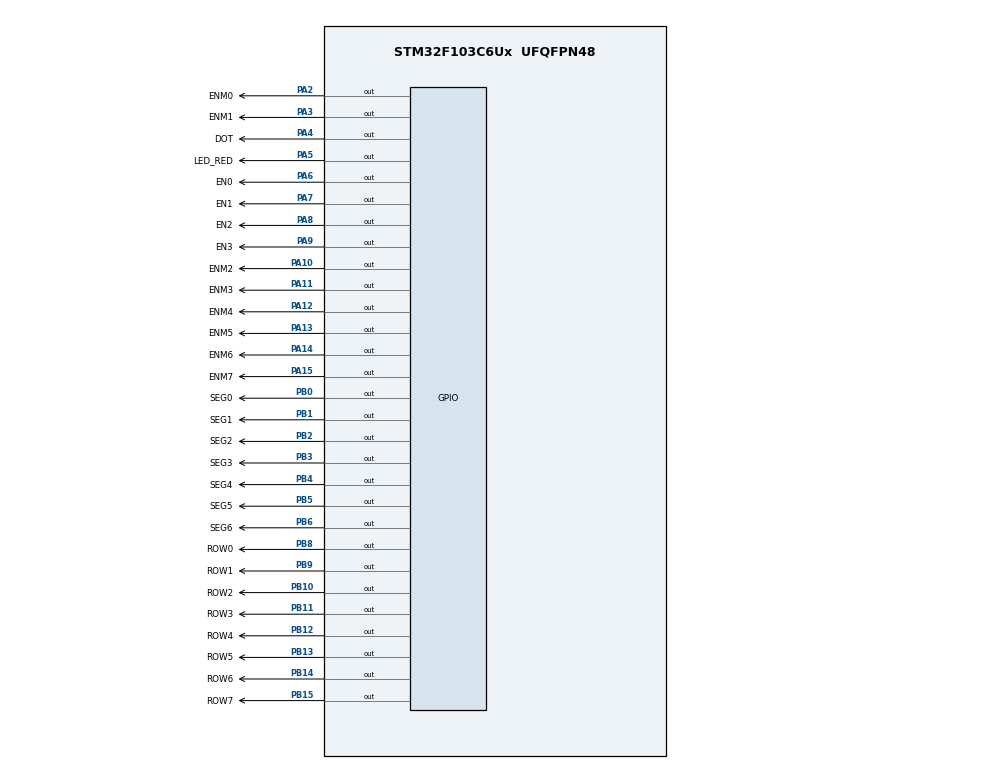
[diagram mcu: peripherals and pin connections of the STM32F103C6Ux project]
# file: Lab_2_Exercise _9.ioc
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Mcu.Family=STM32F1
Mcu.Name=STM32F103C6Ux
Mcu.Package=UFQFPN48
NVIC.PriorityGroup=NVIC_PRIORITYGROUP_4
NVIC.TIM2_IRQn=true\:0\:0\:false\:false\:true\:true\:true
PA10.GPIO_Label=ENM2
PA10.Signal=GPIO_Output
PA11.GPIO_Label=ENM3
PA11.Signal=GPIO_Output
PA12.GPIO_Label=ENM4
PA12.Signal=GPIO_Output
PA13.GPIO_Label=ENM5
PA13.Signal=GPIO_Output
PA14.GPIO_Label=ENM6
PA14.Signal=GPIO_Output
PA15.GPIO_Label=ENM7
PA15.Signal=GPIO_Output
PA2.GPIO_Label=ENM0
PA2.Signal=GPIO_Output
PA3.GPIO_Label=ENM1
PA3.Signal=GPIO_Output
PA4.GPIO_Label=DOT
PA4.Signal=GPIO_Output
PA5.GPIO_Label=LED_RED
PA5.Signal=GPIO_Output
PA6.GPIO_Label=EN0
PA6.Signal=GPIO_Output
PA7.GPIO_Label=EN1
PA7.Signal=GPIO_Output
PA8.GPIO_Label=EN2
PA8.Signal=GPIO_Output
PA9.GPIO_Label=EN3
PA9.Signal=GPIO_Output
PB0.GPIO_Label=SEG0
PB0.Signal=GPIO_Output
PB1.GPIO_Label=SEG1
PB1.Signal=GPIO_Output
PB10.GPIO_Label=ROW2
PB10.Signal=GPIO_Output
PB11.GPIO_Label=ROW3
PB11.Signal=GPIO_Output
PB12.GPIO_Label=ROW4
PB12.Signal=GPIO_Output
PB13.GPIO_Label=ROW5
PB13.Signal=GPIO_Output
PB14.GPIO_Label=ROW6
PB14.Signal=GPIO_Output
PB15.GPIO_Label=ROW7
PB15.Signal=GPIO_Output
PB2.GPIO_Label=SEG2
PB2.Signal=GPIO_Output
PB3.GPIO_Label=SEG3
PB3.Signal=GPIO_Output
PB4.GPIO_Label=SEG4
PB4.Signal=GPIO_Output
PB5.GPIO_Label=SEG5
PB5.Signal=GPIO_Output
PB6.GPIO_Label=SEG6
PB6.Signal=GPIO_Output
PB8.GPIO_Label=ROW0
PB8.Signal=GPIO_Output
PB9.GPIO_Label=ROW1
PB9.Signal=GPIO_Output
ProjectManager.HeapSize=0x200
ProjectManager.StackSize=0x400
ProjectManager.TargetToolchain=STM32CubeIDE
RCC.APB1Freq_Value=8000000
RCC.APB2Freq_Value=8000000
TIM2.Period=9
TIM2.Prescaler=7999
VP_SYS_VS_ND.Mode=No_Debug
VP_TIM2_VS_ClockSourceINT.Mode=Internal
board=custom

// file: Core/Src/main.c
/* USER CODE BEGIN Header */
/**
  ******************************************************************************
  * @file           : main.c
  * @brief          : Main program body
  ******************************************************************************
  * @attention
  *
  * <h2><center>&copy; Copyright (c) 2022 STMicroelectronics.
  * All rights reserved.</center></h2>
  *
  * This software component is licensed by ST under BSD 3-Clause license,
  * the "License"; You may not use this file except in compliance with the
  * License. You may obtain a copy of the License at:
  *                        opensource.org/licenses/BSD-3-Clause
  *
  ******************************************************************************
  */
/* USER CODE END Header */
#include "main.h"

TIM_HandleTypeDef htim2;

/* USER CODE BEGIN PV */
int hour = 15, minute = 8, second = 50;
const int MAX_LED = 4;
int index_led = 0;
int led_buffer[4] = {0, 0, 0, 0};

const int MAX_LED_MATRIX = 8;
int index_led_matrix = 0;
uint8_t matrix_buffer[8] = {0x01, 0x06, 0x38, 0xC8, 0xC8, 0x38, 0x06, 0x01};
uint16_t row[8] = {ROW0, ROW1, ROW2, ROW3, ROW4, ROW5, ROW6, ROW7};
uint16_t col[8] = {ENM0, ENM1, ENM2, ENM3, ENM4, ENM5, ENM6, ENM7};

int timer0_counter = 0;
int timer0_flag = 0;

int timer1_counter = 0;
int timer1_flag = 0;

int timer2_counter = 0;
int timer2_flag = 0;

int TIMER_CYCLE = 10;
/* USER CODE END PV */

void SystemClock_Config(void);
static void MX_GPIO_Init(void);
static void MX_TIM2_Init(void);
/* USER CODE BEGIN PFP */
void update7SEG(int);
void updateClockBuffer(void);
void display7SEG(int);
void updateLEDMatrix(int);
void setTimer0(int);
void setTimer1(int);
void setTimer2(int);
void timer_run(void);
/* USER CODE END PFP */

int main(void)
{

  /* MCU Configuration--------------------------------------------------------*/

  /* Reset of all peripherals, Initializes the Flash interface and the Systick. */
  HAL_Init();

  /* Configure the system clock */
  SystemClock_Config();

  /* Initialize all configured peripherals */
  MX_GPIO_Init();
  MX_TIM2_Init();
  /* USER CODE BEGIN 2 */
  HAL_TIM_Base_Start_IT(&htim2);
  /* USER CODE END 2 */

  /* Infinite loop */
  while (1)
  {

  }
}

void SystemClock_Config(void)
{
  RCC_OscInitTypeDef RCC_OscInitStruct = {0};
  RCC_ClkInitTypeDef RCC_ClkInitStruct = {0};

  /** Initializes the RCC Oscillators according to the specified parameters
  * in the RCC_OscInitTypeDef structure.
  */
  RCC_OscInitStruct.OscillatorType = RCC_OSCILLATORTYPE_HSI;
  RCC_OscInitStruct.HSIState = RCC_HSI_ON;
  RCC_OscInitStruct.HSICalibrationValue = RCC_HSICALIBRATION_DEFAULT;
  RCC_OscInitStruct.PLL.PLLState = RCC_PLL_NONE;
  if (HAL_RCC_OscConfig(&RCC_OscInitStruct) != HAL_OK)
  {
    Error_Handler();
  }
  /** Initializes the CPU, AHB and APB buses clocks
  */
  RCC_ClkInitStruct.ClockType = RCC_CLOCKTYPE_HCLK|RCC_CLOCKTYPE_SYSCLK
                              |RCC_CLOCKTYPE_PCLK1|RCC_CLOCKTYPE_PCLK2;
  RCC_ClkInitStruct.SYSCLKSource = RCC_SYSCLKSOURCE_HSI;
  RCC_ClkInitStruct.AHBCLKDivider = RCC_SYSCLK_DIV1;
  RCC_ClkInitStruct.APB1CLKDivider = RCC_HCLK_DIV1;
  RCC_ClkInitStruct.APB2CLKDivider = RCC_HCLK_DIV1;

  if (HAL_RCC_ClockConfig(&RCC_ClkInitStruct, FLASH_LATENCY_0) != HAL_OK)
  {
    Error_Handler();
  }
}

static void MX_TIM2_Init(void)
{

  TIM_ClockConfigTypeDef sClockSourceConfig = {0};
  TIM_MasterConfigTypeDef sMasterConfig = {0};

  htim2.Instance = TIM2;
  htim2.Init.Prescaler = 7999;
  htim2.Init.CounterMode = TIM_COUNTERMODE_UP;
  htim2.Init.Period = 9;
  htim2.Init.ClockDivision = TIM_CLOCKDIVISION_DIV1;
  htim2.Init.AutoReloadPreload = TIM_AUTORELOAD_PRELOAD_DISABLE;
  if (HAL_TIM_Base_Init(&htim2) != HAL_OK)
  {
    Error_Handler();
  }
  sClockSourceConfig.ClockSource = TIM_CLOCKSOURCE_INTERNAL;
  if (HAL_TIM_ConfigClockSource(&htim2, &sClockSourceConfig) != HAL_OK)
  {
    Error_Handler();
  }
  sMasterConfig.MasterOutputTrigger = TIM_TRGO_RESET;
  sMasterConfig.MasterSlaveMode = TIM_MASTERSLAVEMODE_DISABLE;
  if (HAL_TIMEx_MasterConfigSynchronization(&htim2, &sMasterConfig) != HAL_OK)
  {
    Error_Handler();
  }

}

static void MX_GPIO_Init(void)
{
  GPIO_InitTypeDef GPIO_InitStruct = {0};

  /* GPIO Ports Clock Enable */
  __HAL_RCC_GPIOA_CLK_ENABLE();
  __HAL_RCC_GPIOB_CLK_ENABLE();

  /*Configure GPIO pin Output Level */
  HAL_GPIO_WritePin(GPIOA, ENM0_Pin|ENM1_Pin|DOT_Pin|LED_RED_Pin
                          |EN0_Pin|EN1_Pin|EN2_Pin|EN3_Pin
                          |ENM2_Pin|ENM3_Pin|ENM4_Pin|ENM5_Pin
                          |ENM6_Pin|ENM7_Pin, GPIO_PIN_RESET);

  /*Configure GPIO pin Output Level */
  HAL_GPIO_WritePin(GPIOB, SEG0_Pin|SEG1_Pin|SEG2_Pin|ROW2_Pin
                          |ROW3_Pin|ROW4_Pin|ROW5_Pin|ROW6_Pin
                          |ROW7_Pin|SEG3_Pin|SEG4_Pin|SEG5_Pin
                          |SEG6_Pin|ROW0_Pin|ROW1_Pin, GPIO_PIN_RESET);

  /*Configure GPIO pins : ENM0_Pin ENM1_Pin DOT_Pin LED_RED_Pin
                           EN0_Pin EN1_Pin EN2_Pin EN3_Pin
                           ENM2_Pin ENM3_Pin ENM4_Pin ENM5_Pin
                           ENM6_Pin ENM7_Pin */
  GPIO_InitStruct.Pin = ENM0_Pin|ENM1_Pin|DOT_Pin|LED_RED_Pin
                          |EN0_Pin|EN1_Pin|EN2_Pin|EN3_Pin
                          |ENM2_Pin|ENM3_Pin|ENM4_Pin|ENM5_Pin
                          |ENM6_Pin|ENM7_Pin;
  GPIO_InitStruct.Mode = GPIO_MODE_OUTPUT_PP;
  GPIO_InitStruct.Pull = GPIO_NOPULL;
  GPIO_InitStruct.Speed = GPIO_SPEED_FREQ_LOW;
  HAL_GPIO_Init(GPIOA, &GPIO_InitStruct);

  /*Configure GPIO pins : SEG0_Pin SEG1_Pin SEG2_Pin ROW2_Pin
                           ROW3_Pin ROW4_Pin ROW5_Pin ROW6_Pin
                           ROW7_Pin SEG3_Pin SEG4_Pin SEG5_Pin
                           SEG6_Pin ROW0_Pin ROW1_Pin */
  GPIO_InitStruct.Pin = SEG0_Pin|SEG1_Pin|SEG2_Pin|ROW2_Pin
                          |ROW3_Pin|ROW4_Pin|ROW5_Pin|ROW6_Pin
                          |ROW7_Pin|SEG3_Pin|SEG4_Pin|SEG5_Pin
                          |SEG6_Pin|ROW0_Pin|ROW1_Pin;
  GPIO_InitStruct.Mode = GPIO_MODE_OUTPUT_PP;
  GPIO_InitStruct.Pull = GPIO_NOPULL;
  GPIO_InitStruct.Speed = GPIO_SPEED_FREQ_LOW;
  HAL_GPIO_Init(GPIOB, &GPIO_InitStruct);

}

/* USER CODE BEGIN 4 */
void display7SEG(int num){
	switch(num)
		{
		case 0:
			HAL_GPIO_WritePin(SEG0_GPIO_Port, SEG0_Pin, 0);
			HAL_GPIO_WritePin(SEG1_GPIO_Port, SEG1_Pin, 0);
			HAL_GPIO_WritePin(SEG2_GPIO_Port, SEG2_Pin, 0);
			HAL_GPIO_WritePin(SEG3_GPIO_Port, SEG3_Pin, 0);
			HAL_GPIO_WritePin(SEG4_GPIO_Port, SEG4_Pin, 0);
			HAL_GPIO_WritePin(SEG5_GPIO_Port, SEG5_Pin, 0);
			HAL_GPIO_WritePin(SEG6_GPIO_Port, SEG6_Pin, 1);
			break;
		case 1:
			HAL_GPIO_WritePin(SEG0_GPIO_Port, SEG0_Pin, 1);
			HAL_GPIO_WritePin(SEG1_GPIO_Port, SEG1_Pin, 0);
			HAL_GPIO_WritePin(SEG2_GPIO_Port, SEG2_Pin, 0);
			HAL_GPIO_WritePin(SEG3_GPIO_Port, SEG3_Pin, 1);
			HAL_GPIO_WritePin(SEG4_GPIO_Port, SEG4_Pin, 1);
			HAL_GPIO_WritePin(SEG5_GPIO_Port, SEG5_Pin, 1);
			HAL_GPIO_WritePin(SEG6_GPIO_Port, SEG6_Pin, 1);
			break;
		case 2:
			HAL_GPIO_WritePin(SEG0_GPIO_Port, SEG0_Pin, 0);
			HAL_GPIO_WritePin(SEG1_GPIO_Port, SEG1_Pin, 0);
			HAL_GPIO_WritePin(SEG2_GPIO_Port, SEG2_Pin, 1);
			HAL_GPIO_WritePin(SEG3_GPIO_Port, SEG3_Pin, 0);
			HAL_GPIO_WritePin(SEG4_GPIO_Port, SEG4_Pin, 0);
			HAL_GPIO_WritePin(SEG5_GPIO_Port, SEG5_Pin, 1);
			HAL_GPIO_WritePin(SEG6_GPIO_Port, SEG6_Pin, 0);
			break;
		case 3:
			HAL_GPIO_WritePin(SEG0_GPIO_Port, SEG0_Pin, 0);
			HAL_GPIO_WritePin(SEG1_GPIO_Port, SEG1_Pin, 0);
			HAL_GPIO_WritePin(SEG2_GPIO_Port, SEG2_Pin, 0);
			HAL_GPIO_WritePin(SEG3_GPIO_Port, SEG3_Pin, 0);
			HAL_GPIO_WritePin(SEG4_GPIO_Port, SEG4_Pin, 1);
			HAL_GPIO_WritePin(SEG5_GPIO_Port, SEG5_Pin, 1);
			HAL_GPIO_WritePin(SEG6_GPIO_Port, SEG6_Pin, 0);
			break;
		case 4:
			HAL_GPIO_WritePin(SEG0_GPIO_Port, SEG0_Pin, 1);
			HAL_GPIO_WritePin(SEG1_GPIO_Port, SEG1_Pin, 0);
			HAL_GPIO_WritePin(SEG2_GPIO_Port, SEG2_Pin, 0);
			HAL_GPIO_WritePin(SEG3_GPIO_Port, SEG3_Pin, 1);
			HAL_GPIO_WritePin(SEG4_GPIO_Port, SEG4_Pin, 1);
			HAL_GPIO_WritePin(SEG5_GPIO_Port, SEG5_Pin, 0);
			HAL_GPIO_WritePin(SEG6_GPIO_Port, SEG6_Pin, 0);
			break;
		case 5:
			HAL_GPIO_WritePin(SEG0_GPIO_Port, SEG0_Pin, 0);
			HAL_GPIO_WritePin(SEG1_GPIO_Port, SEG1_Pin, 1);
			HAL_GPIO_WritePin(SEG2_GPIO_Port, SEG2_Pin, 0);
			HAL_GPIO_WritePin(SEG3_GPIO_Port, SEG3_Pin, 0);
			HAL_GPIO_WritePin(SEG4_GPIO_Port, SEG4_Pin, 1);
			HAL_GPIO_WritePin(SEG5_GPIO_Port, SEG5_Pin, 0);
			HAL_GPIO_WritePin(SEG6_GPIO_Port, SEG6_Pin, 0);
			break;
		case 6:
			HAL_GPIO_WritePin(SEG0_GPIO_Port, SEG0_Pin, 0);
			HAL_GPIO_WritePin(SEG1_GPIO_Port, SEG1_Pin, 1);
			HAL_GPIO_WritePin(SEG2_GPIO_Port, SEG2_Pin, 0);
			HAL_GPIO_WritePin(SEG3_GPIO_Port, SEG3_Pin, 0);
			HAL_GPIO_WritePin(SEG4_GPIO_Port, SEG4_Pin, 0);
			HAL_GPIO_WritePin(SEG5_GPIO_Port, SEG5_Pin, 0);
			HAL_GPIO_WritePin(SEG6_GPIO_Port, SEG6_Pin, 0);
			break;
		case 7:
			HAL_GPIO_WritePin(SEG0_GPIO_Port, SEG0_Pin, 0);
			HAL_GPIO_WritePin(SEG1_GPIO_Port, SEG1_Pin, 0);
			HAL_GPIO_WritePin(SEG2_GPIO_Port, SEG2_Pin, 0);
			HAL_GPIO_WritePin(SEG3_GPIO_Port, SEG3_Pin, 1);
			HAL_GPIO_WritePin(SEG4_GPIO_Port, SEG4_Pin, 1);
			HAL_GPIO_WritePin(SEG5_GPIO_Port, SEG5_Pin, 1);
			HAL_GPIO_WritePin(SEG6_GPIO_Port, SEG6_Pin, 1);
			break;
		case 8:
			HAL_GPIO_WritePin(SEG0_GPIO_Port, SEG0_Pin, 0);
			HAL_GPIO_WritePin(SEG1_GPIO_Port, SEG1_Pin, 0);
			HAL_GPIO_WritePin(SEG2_GPIO_Port, SEG2_Pin, 0);
			HAL_GPIO_WritePin(SEG3_GPIO_Port, SEG3_Pin, 0);
			HAL_GPIO_WritePin(SEG4_GPIO_Port, SEG4_Pin, 0);
			HAL_GPIO_WritePin(SEG5_GPIO_Port, SEG5_Pin, 0);
			HAL_GPIO_WritePin(SEG6_GPIO_Port, SEG6_Pin, 0);
			break;
		case 9:
			HAL_GPIO_WritePin(SEG0_GPIO_Port, SEG0_Pin, 0);
			HAL_GPIO_WritePin(SEG1_GPIO_Port, SEG1_Pin, 0);
			HAL_GPIO_WritePin(SEG2_GPIO_Port, SEG2_Pin, 0);
			HAL_GPIO_WritePin(SEG3_GPIO_Port, SEG3_Pin, 1);
			HAL_GPIO_WritePin(SEG4_GPIO_Port, SEG4_Pin, 1);
			HAL_GPIO_WritePin(SEG5_GPIO_Port, SEG5_Pin, 0);
			HAL_GPIO_WritePin(SEG6_GPIO_Port, SEG6_Pin, 0);
			break;
		}
}

void update7SEG ( int index ) {
	HAL_GPIO_WritePin(EN0_GPIO_Port, EN0_Pin, 1);
	HAL_GPIO_WritePin(EN1_GPIO_Port, EN1_Pin, 1);
	HAL_GPIO_WritePin(EN2_GPIO_Port, EN2_Pin, 1);
	HAL_GPIO_WritePin(EN3_GPIO_Port, EN3_Pin, 1);
	display7SEG(led_buffer[index]);
	switch ( index ) {
	case 0:
		// Display the first 7 SEG with led_buffer [0]
		HAL_GPIO_WritePin(EN0_GPIO_Port, EN0_Pin, 0);
		break ;
	case 1:
		// Display the second 7 SEG with led_buffer [1]
		HAL_GPIO_WritePin(EN1_GPIO_Port, EN1_Pin, 0);
		break ;
	case 2:
		// Display the third 7 SEG with led_buffer [2]
		HAL_GPIO_WritePin(EN2_GPIO_Port, EN2_Pin, 0);
		break ;
	case 3:
		// Display the forth 7 SEG with led_buffer [3]
		HAL_GPIO_WritePin(EN3_GPIO_Port, EN3_Pin, 0);
		break ;
	default :
		break ;
	}
}

void updateClockBuffer() {
	led_buffer[0] = hour / 10;
	led_buffer[1] = hour % 10;
	led_buffer[2] = minute / 10;
	led_buffer[3] = minute % 10;
}

void setTimer0(int duration) {
	timer0_counter = duration / TIMER_CYCLE;
	timer0_flag = 0;
}

void setTimer1(int duration) {
	timer1_counter = duration / TIMER_CYCLE;
	timer1_flag = 0;
}

void timer_run() {
	if (timer0_counter > 0) {
		timer0_counter--;
		if (timer0_counter == 0) timer0_flag = 1;
	}

	if (timer1_counter > 0) {
		timer1_counter--;
		if (timer1_counter == 0) timer1_flag = 1;
	}

	if (timer2_counter > 0) {
		timer2_counter--;
		if (timer2_counter == 0) timer2_flag = 1;
	}
}

void HAL_TIM_PeriodElapsedCallback(TIM_HandleTypeDef *htim) {
	timer_run();
}

/* USER CODE END 4 */

void Error_Handler(void)
{
  __disable_irq();
  while (1)
  {
  }
}

/************************ (C) COPYRIGHT STMicroelectronics *****END OF FILE****/
